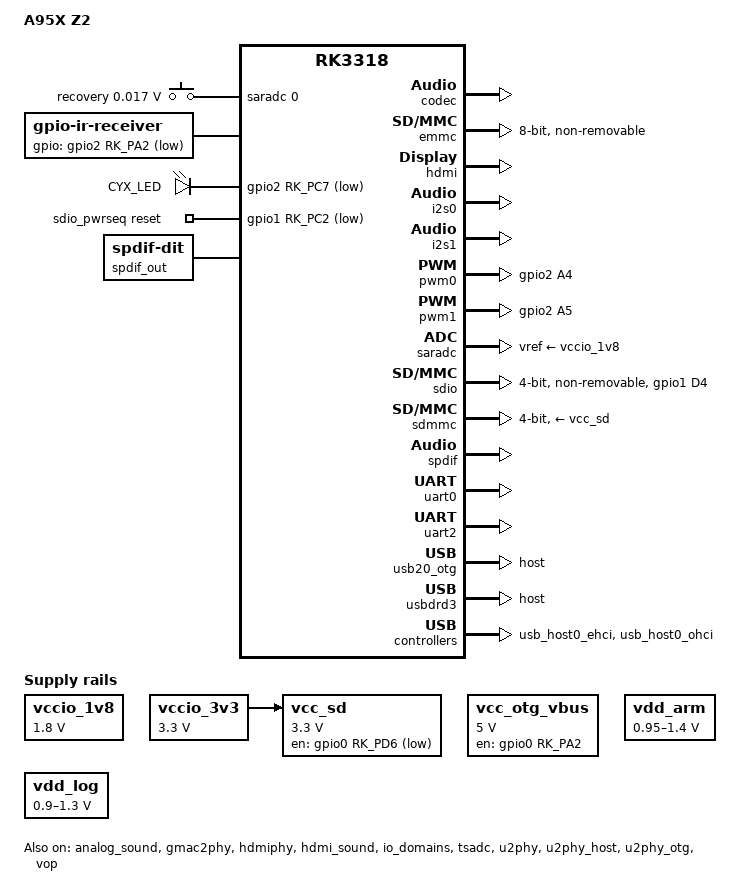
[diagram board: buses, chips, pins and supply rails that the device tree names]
// SPDX-License-Identifier: (GPL-2.0+ OR MIT)

/dts-v1/;
#include <dt-bindings/input/input.h>
#include "rk3328.dtsi"

/ {
	model = "A95X Z2";
	compatible = "zkmagic,a95x-z2", "rockchip,rk3318";

	aliases {
		mmc0 = &sdmmc;
		mmc1 = &sdio;
		mmc2 = &emmc;
	};

	chosen {
		stdout-path = "serial2:1500000n8";
	};

	adc-keys {
		compatible = "adc-keys";
		io-channels = <&saradc 0>;
		io-channel-names = "buttons";
		keyup-threshold-microvolt = <1800000>;
		poll-interval = <100>;

		recovery {
			label = "recovery";
			linux,code = <KEY_VENDOR>;
			press-threshold-microvolt = <17000>;
		};
	};

	ir-receiver {
		compatible = "gpio-ir-receiver";
		gpios = <&gpio2 RK_PA2 GPIO_ACTIVE_LOW>;
		pinctrl-0 = <&ir_int>;
		pinctrl-names = "default";
	};

	leds {
		compatible = "gpio-leds";
		pinctrl-0 = <&cyx_led_pin>;
		pinctrl-names = "default";

		cyx_led: led-0 {
			default-state = "on";
			gpios = <&gpio2 RK_PC7 GPIO_ACTIVE_LOW>;
			label = "CYX_LED";
		};
	};

	sdio_pwrseq: sdio-pwrseq {
		compatible = "mmc-pwrseq-simple";
		pinctrl-0 = <&wifi_enable_h>;
		pinctrl-names = "default";
		reset-gpios = <&gpio1 RK_PC2 GPIO_ACTIVE_LOW>;
	};

	spdif-sound {
		compatible = "simple-audio-card";
		simple-audio-card,name = "SPDIF";

		simple-audio-card,cpu {
			sound-dai = <&spdif>;
		};

		simple-audio-card,codec {
			sound-dai = <&spdif_out>;
		};
	};

	spdif_out: spdif-out {
		compatible = "linux,spdif-dit";
		#sound-dai-cells = <0>;
	};

	/* Power tree */
	vccio_1v8: vccio-1v8-regulator {
		compatible = "regulator-fixed";
		regulator-name = "vccio_1v8";
		regulator-min-microvolt = <1800000>;
		regulator-max-microvolt = <1800000>;
		regulator-always-on;
	};

	vccio_3v3: vccio-3v3-regulator {
		compatible = "regulator-fixed";
		regulator-name = "vccio_3v3";
		regulator-min-microvolt = <3300000>;
		regulator-max-microvolt = <3300000>;
		regulator-always-on;
	};

	vcc_otg_vbus: otg-vbus-regulator {
		compatible = "regulator-fixed";
		gpio = <&gpio0 RK_PA2 GPIO_ACTIVE_HIGH>;
		pinctrl-0 = <&otg_vbus_drv>;
		pinctrl-names = "default";
		regulator-name = "vcc_otg_vbus";
		regulator-min-microvolt = <5000000>;
		regulator-max-microvolt = <5000000>;
		enable-active-high;
	};

	vcc_sd: sdmmc-regulator {
		compatible = "regulator-fixed";
		gpio = <&gpio0 RK_PD6 GPIO_ACTIVE_LOW>;
		pinctrl-0 = <&sdmmc0m1_pin>;
		pinctrl-names = "default";
		regulator-name = "vcc_sd";
		regulator-min-microvolt = <3300000>;
		regulator-max-microvolt = <3300000>;
		vin-supply = <&vccio_3v3>;
	};

	vdd_arm: vdd-arm {
		compatible = "pwm-regulator";
		pwms = <&pwm0 0 5000 1>;
		regulator-name = "vdd_arm";
		regulator-min-microvolt = <950000>;
		regulator-max-microvolt = <1400000>;
		regulator-settling-time-up-us = <250>;
		regulator-always-on;
		regulator-boot-on;
	};

	vdd_log: vdd-log {
		compatible = "pwm-regulator";
		pwms = <&pwm1 0 5000 1>;
		regulator-name = "vdd_log";
		regulator-min-microvolt = <900000>;
		regulator-max-microvolt = <1300000>;
		regulator-settling-time-up-us = <250>;
		regulator-always-on;
		regulator-boot-on;
	};
};

&analog_sound {
	status = "okay";
};

&codec {
	status = "okay";
};

&cpu0 {
	cpu-supply = <&vdd_arm>;
};

&cpu1 {
	cpu-supply = <&vdd_arm>;
};

&cpu2 {
	cpu-supply = <&vdd_arm>;
};

&cpu3 {
	cpu-supply = <&vdd_arm>;
};

&cpu0_opp_table {
	opp-1200000000 {
		status = "disabled";
	};

	opp-1296000000 {
		status = "disabled";
	};
};

&emmc {
	bus-width = <8>;
	cap-mmc-highspeed;
	non-removable;
	pinctrl-0 = <&emmc_clk &emmc_cmd &emmc_bus8>;
	pinctrl-names = "default";
	status = "okay";
};

&gmac2phy {
	assigned-clock-parents = <&cru SCLK_MAC2PHY_SRC>;
	assigned-clock-rate = <50000000>;
	assigned-clocks = <&cru SCLK_MAC2PHY>;
	status = "okay";
};

&gpu {
	mali-supply = <&vdd_log>;
};

&hdmi {
	status = "okay";
};

&hdmiphy {
	status = "okay";
};

&hdmi_sound {
	status = "okay";
};

&i2s0 {
	status = "okay";
};

&i2s1 {
	status = "okay";
};

&io_domains {
	pmuio-supply = <&vccio_3v3>;
	vccio1-supply = <&vccio_3v3>;
	vccio2-supply = <&vccio_1v8>;
	vccio3-supply = <&vccio_3v3>;
	vccio4-supply = <&vccio_1v8>;
	vccio5-supply = <&vccio_3v3>;
	vccio6-supply = <&vccio_3v3>;
	status = "okay";
};

&pinctrl {
	ir {
		ir_int: ir-int {
			rockchip,pins = <2 RK_PA2 RK_FUNC_GPIO &pcfg_pull_none>;
		};
	};

	leds {
		cyx_led_pin: cyx-led-pin {
			rockchip,pins = <2 RK_PC7 RK_FUNC_GPIO &pcfg_pull_none>;
		};
	};

	pwm0 {
		pwm0_pin_pull_up: pwm0-pin-pull-up {
			rockchip,pins = <2 RK_PA4 1 &pcfg_pull_up>;
		};
	};

	pwm1 {
		pwm1_pin_pull_up: pwm1-pin-pull-up {
			rockchip,pins = <2 RK_PA5 1 &pcfg_pull_up>;
		};
	};

	sdio-pwrseq {
		wifi_enable_h: wifi-enable-h {
			rockchip,pins = <1 RK_PC2 RK_FUNC_GPIO &pcfg_pull_none>;
		};
	};

	sdmmc1 {
		clk_32k_out: clk-32k-out {
			rockchip,pins = <1 RK_PD4 1 &pcfg_pull_none>;
		};
	};

	usb {
		host_vbus_drv: host-vbus-drv {
			rockchip,pins = <0 RK_PA0 RK_FUNC_GPIO &pcfg_pull_none>;
		};

		otg_vbus_drv: otg-vbus-drv {
			rockchip,pins = <0 RK_PA2 RK_FUNC_GPIO &pcfg_pull_none>;
		};
	};
};

&pwm0 {
	pinctrl-0 = <&pwm0_pin_pull_up>;
	pinctrl-names = "active";
	status = "okay";
};

&pwm1 {
	pinctrl-0 = <&pwm1_pin_pull_up>;
	pinctrl-names = "active";
	status = "okay";
};

&saradc {
	vref-supply = <&vccio_1v8>;
	status = "okay";
};

&sdio {
	bus-width = <4>;
	cap-sd-highspeed;
	cap-sdio-irq;
	keep-power-in-suspend;
	max-frequency = <125000000>;
	mmc-pwrseq = <&sdio_pwrseq>;
	non-removable;
	pinctrl-0 = <&sdmmc1_bus4 &sdmmc1_cmd &sdmmc1_clk &clk_32k_out>;
	pinctrl-names = "default";
	sd-uhs-sdr104;
	status = "okay";
};

&sdmmc {
	bus-width = <4>;
	cap-sd-highspeed;
	pinctrl-0 = <&sdmmc0_clk &sdmmc0_cmd &sdmmc0_dectn &sdmmc0_bus4>;
	pinctrl-names = "default";
	vmmc-supply = <&vcc_sd>;
	status = "okay";
};

&spdif {
	pinctrl-0 = <&spdifm0_tx>;
	status = "okay";
};

&soc_crit {
	temperature = <115000>; /* millicelsius */
};

&target {
	temperature = <105000>; /* millicelsius */
};

&threshold {
	temperature = <90000>; /* millicelsius */
};

&tsadc {
	rockchip,hw-tshut-temp = <120000>;
	status = "okay";
};

&u2phy {
	status = "okay";
};

&u2phy_host {
	status = "okay";
};

&u2phy_otg {
	phy-supply = <&vcc_otg_vbus>;
	status = "okay";
};

&uart0 {
	pinctrl-0 = <&uart0_xfer &uart0_cts>;
	status = "okay";
};

&uart2 {
	status = "okay";
};

&usb20_otg {
	dr_mode = "host";
	status = "okay";
};

&usbdrd3 {
	dr_mode = "host";
	status = "okay";
};

&usb_host0_ehci {
	status = "okay";
};

&usb_host0_ohci {
	status = "okay";
};

&vop {
	status = "okay";
};

&vop_mmu {
	status = "okay";
};
